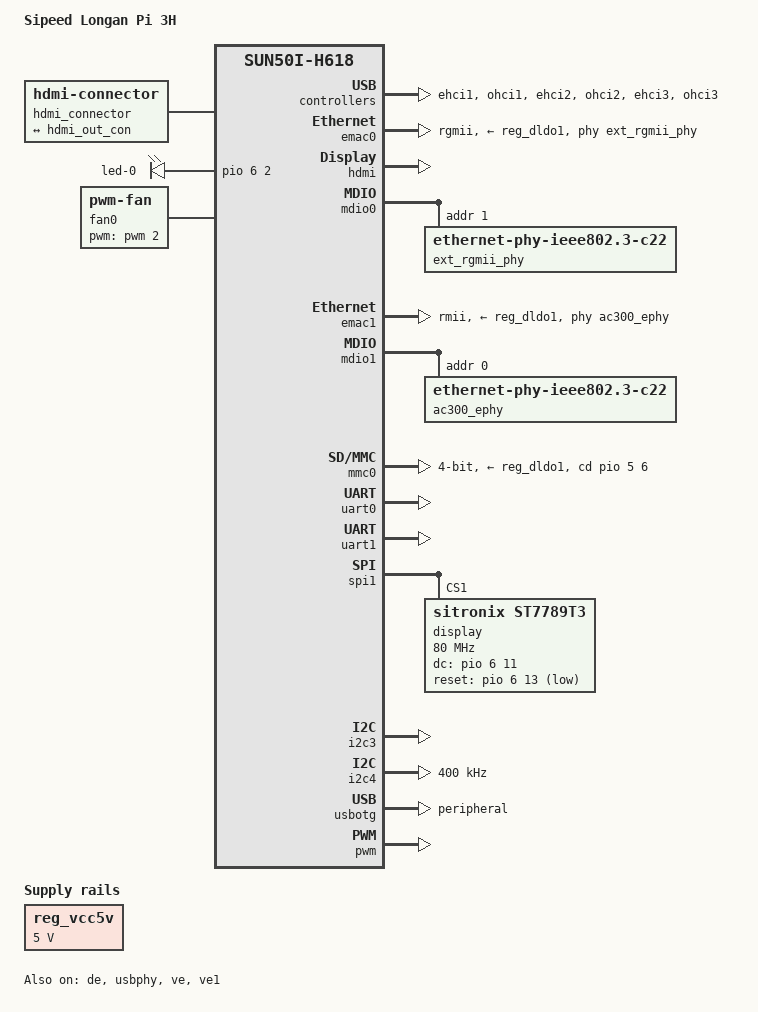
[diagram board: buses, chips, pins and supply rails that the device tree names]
// SPDX-License-Identifier: (GPL-2.0+ OR MIT)
/*
 * Copyright (C) Jisheng Zhang <jszhang@kernel.org>
 */

/dts-v1/;

#include "sun50i-h618-longan-module-3h.dtsi"

#include <dt-bindings/gpio/gpio.h>
#include <dt-bindings/interrupt-controller/arm-gic.h>
#include <dt-bindings/leds/common.h>

/ {
	model = "Sipeed Longan Pi 3H";
	compatible = "sipeed,longan-pi-3h", "sipeed,longan-module-3h", "allwinner,sun50i-h618";

	aliases {
		ethernet0 = &emac0;
		ethernet1 = &emac1;
		serial0 = &uart0;
		ve0 = &ve;
		ve1 = &ve1;
	};

	chosen {
		stdout-path = "serial0:115200n8";
	};

	reserved-memory {
		linux,cma {
			compatible = "shared-dma-pool";
			reusable;
			alloc-ranges = <0x0 0x40000000 0x0 0xffffffff>;
			size = <0x0 0x8000000>;
			linux,cma-default;
		};
	};

	hdmi_connector: connector {
		compatible = "hdmi-connector";
		type = "a";

		port {
			hdmi_con_in: endpoint {
				remote-endpoint = <&hdmi_out_con>;
			};
		};
	};

	leds {
		compatible = "gpio-leds";

		led-0 {
			gpios = <&pio 6 2 GPIO_ACTIVE_HIGH>; /* PG2 */
			linux,default-trigger = "heartbeat";
			status = "okay";
		};

		led-1 {
			gpios = <&pio 6 4 GPIO_ACTIVE_HIGH>; /* PG4 */
			status = "disabled";
		};
	};

	reg_vcc5v: vcc5v {
		/* board wide 5V supply directly from the USB-C socket */
		compatible = "regulator-fixed";
		regulator-name = "vcc-5v";
		regulator-min-microvolt = <5000000>;
		regulator-max-microvolt = <5000000>;
		regulator-always-on;
	};

	fan0: pwm-fan {
        compatible = "pwm-fan";
        cooling-levels = <1 100 150 200 255>;
        #cooling-cells = <2>;
		pwms = <&pwm 2 50000 1>;
		status = "okay";
    };

	thermal-zones {
		cpu-thermal {
			cooling-maps {
				map0 {
					trip = <&cpu_threshold>;
					cooling-device = <&fan0 0 2>;
				};
				map1 {
					trip = <&cpu_target>;
					cooling-device = <&fan0 2 4>;
				};
			};
		};
	};
};

&axp313 {
	vin1-supply = <&reg_vcc5v>;
	vin2-supply = <&reg_vcc5v>;
	vin3-supply = <&reg_vcc5v>;
};

&de {
	status = "okay";
};

&ehci1 {
	status = "okay";
};

&ohci1 {
	status = "okay";
};

&ehci2 {
	status = "okay";
};

&ohci2 {
	status = "okay";
};

&ehci3 {
	status = "okay";
};

&ohci3 {
	status = "okay";
};

&emac0 {
	pinctrl-names = "default";
	pinctrl-0 = <&ext_rgmii_pins>;
	phy-mode = "rgmii";
	phy-handle = <&ext_rgmii_phy>;
	allwinner,rx-delay-ps = <3100>;
	allwinner,tx-delay-ps = <700>;
	phy-supply = <&reg_dldo1>;
	status = "okay";
};

&hdmi {
	status = "okay";
};

&hdmi_out {
	hdmi_out_con: endpoint {
		remote-endpoint = <&hdmi_con_in>;
	};
};

&mdio0 {
	ext_rgmii_phy: ethernet-phy@1 {
		compatible = "ethernet-phy-ieee802.3-c22";
		reg = <1>;
	};
};

&emac1 {
	pinctrl-names = "default";
	pinctrl-0 = <&rmii_pins>;
	phy-mode = "rmii";
	phy-handle = <&ac300_ephy>;
	phy-supply = <&reg_dldo1>;
	allwinner,rx-delay-ps = <3100>;
	allwinner,tx-delay-ps = <700>;
	status = "okay";
};

&mdio1 {
	ac300_ephy: ethernet-phy@0 {
		compatible = "ethernet-phy-ieee802.3-c22";
		reg = <0>;
	};
};

&mmc0 {
	bus-width = <4>;
	cd-gpios = <&pio 5 6 GPIO_ACTIVE_HIGH>;	/* PF6 */
	vmmc-supply = <&reg_dldo1>;
	status = "okay";
};

&uart0 {
	status = "okay";
};

&uart1 {
	pinctrl-names = "default";
	pinctrl-0 = <&uart1_pg_pins>;
	status = "okay";
};

&spi1 {
	pinctrl-names = "default";
	pinctrl-0 = <&spi1_pins>, <&spi1_cs1_pin>;
	status = "okay";

	display: st7789t3@1{
		compatible = "sitronix,st7789t3";
		reg = <1>;
		status = "okay";
		spi-max-frequency = <80000000>;
		spi-cpol;
		spi-cpha;
		rotate = <90>;
		fps = <60>;
		rgb;
		buswidth = <8>;
		dc-gpios = <&pio 6 11 GPIO_ACTIVE_HIGH>;
		reset-gpios = <&pio 6 13 GPIO_ACTIVE_LOW>;
		debug = <0>;
	};
};

&i2c3 {
	pinctrl-0 = <&i2c3_pg_pins>;
	status = "okay";
};

&i2c4 {
	status = "okay";
	pinctrl-names = "default";
	pinctrl-0 = <&i2c4_pg_pins>;
	clock-frequency = <400000>;
};

&usbotg {
	/*
	 * PHY0 pins are connected to a USB-C socket, but a role switch
	 * is not implemented: both CC pins are pulled to GND.
	 * The VBUS pins power the device, so a fixed peripheral mode
	 * is the best choice.
	 * The board can be powered via GPIOs, in this case port0 *can*
	 * act as a host (with a cable/adapter ignoring CC), as VBUS is
	 * then provided by the GPIOs. Any user of this setup would
	 * need to adjust the DT accordingly: dr_mode set to "host",
	 * enabling OHCI0 and EHCI0.
	 */
	dr_mode = "peripheral";
	status = "okay";
};

&usbphy {
	usb1_vbus-supply = <&reg_vcc5v>;
	status = "okay";
};

&ve {
	ve-supply = <&reg_dldo1>;
	status="okay";
};

&ve1 {
	status="okay";
};

&pwm {
	status = "okay";
};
